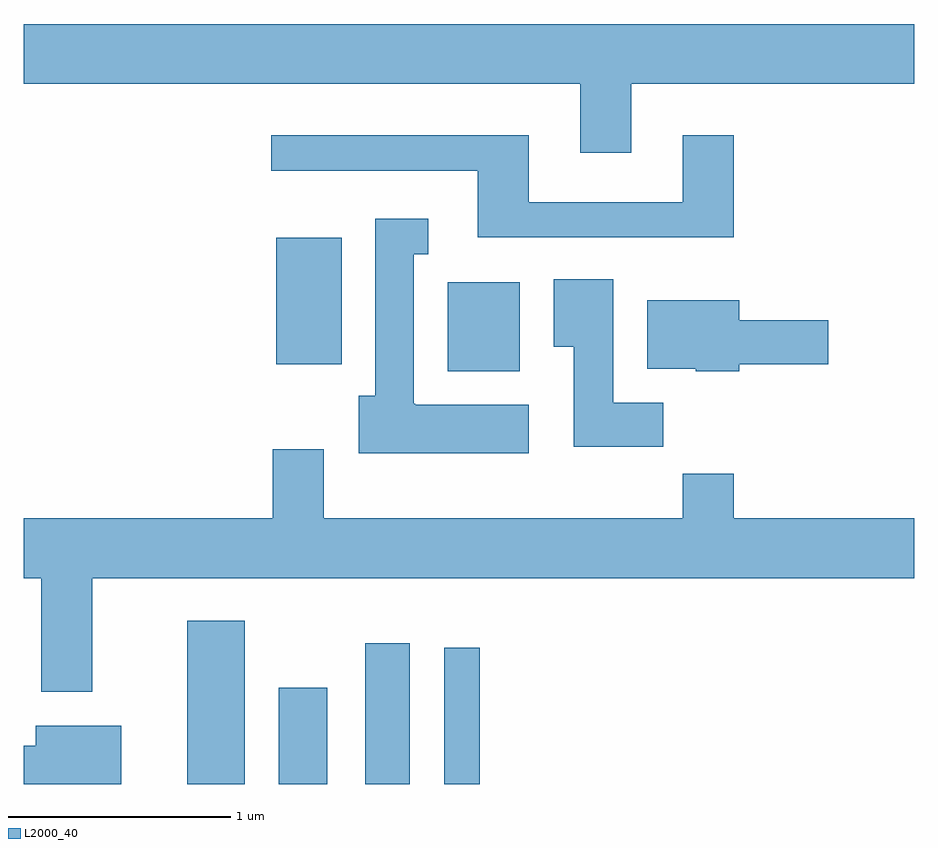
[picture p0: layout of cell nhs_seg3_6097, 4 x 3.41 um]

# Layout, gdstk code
import gdstk
lib = gdstk.Library(unit=1e-6, precision=1e-09)
def R(c, l, rs):  # rectangles x0, y0, x1, y1
    for r in rs: c.add(gdstk.rectangle(r[:2], r[2:], *l))
def P(c, l, *ps):  # polygons
    for p in ps: c.add(gdstk.Polygon(p, *l))
L2000_40 = (2000, 40)

nhs_seg3_6097 = lib.new_cell('nhs_seg3_6097')
R(nhs_seg3_6097, L2000_40, [(364.346,1213.892,364.604,1214.624), (364.756,1213.892,364.974,1214.324), (365.146,1213.892,365.344,1214.524), (365.501,1213.892,365.659,1214.503), (365.516,1215.746,365.839,1216.144), (364.746,1215.776,365.039,1216.344)])
P(nhs_seg3_6097, L2000_40, [(366.339,1217.036),(367.611,1217.036),(367.611,1217.304),(363.611,1217.304),(363.611,1217.036),(366.111,1217.036),(366.111,1216.726),(366.339,1216.726)],
  [(366.799,1216.804),(366.571,1216.804),(366.571,1216.504),(365.879,1216.504),(365.879,1216.804),(364.723,1216.804),(364.723,1216.646),(365.651,1216.646),(365.651,1216.346),(366.799,1216.346)],
  [(365.879,1215.594),(365.37,1215.594),(365.37,1215.6),(365.364,1215.6),(365.364,1216.271),(365.428,1216.271),(365.428,1216.429),(365.191,1216.429),(365.191,1215.634),(365.116,1215.634),(365.116,1215.376),(365.879,1215.376)],
  [(366.484,1215.604),(366.259,1215.604),(366.259,1216.159),(365.991,1216.159),(365.991,1215.856),(366.081,1215.856),(366.081,1215.406),(366.484,1215.406)],
  [(366.824,1215.776),(367.224,1215.776),(367.224,1215.974),(366.824,1215.974),(366.824,1216.064),(366.411,1216.064),(366.411,1215.756),(366.63,1215.756),(366.63,1215.746),(366.824,1215.746)],
  [(363.919,1214.816),(367.611,1214.816),(367.611,1215.084),(366.799,1215.084),(366.799,1215.284),(366.571,1215.284),(366.571,1215.084),(364.959,1215.084),(364.959,1215.394),(364.731,1215.394),(364.731,1215.084),(363.611,1215.084),(363.611,1214.816),(363.691,1214.816),(363.691,1214.306),(363.919,1214.306)],
  [(364.049,1214.154),(363.666,1214.154),(363.666,1214.064),(363.611,1214.064),(363.611,1213.892),(364.049,1213.892)])

lib.write_gds('nhs_seg3_6097.gds')
